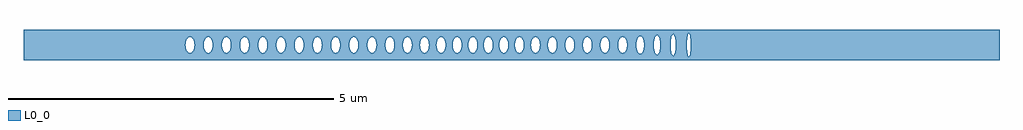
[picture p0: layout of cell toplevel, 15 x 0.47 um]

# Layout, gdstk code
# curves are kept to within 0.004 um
import gdstk
lib = gdstk.Library(unit=1e-6, precision=1e-09)
def P(c, l, *ps):  # polygons
    for p in ps: c.add(gdstk.Polygon(p, *l))
L0_0 = (0, 0)

toplevel = lib.new_cell('toplevel')
P(toplevel, L0_0, [(-4.441,-0.067),(-4.452,0.008),(-4.438,0.073),(-4.438,0.235),(-7.5,0.235),(-7.5,-0.016),(-5.011,-0.016),(-5.008,0.038),(-4.998,0.073),(-4.975,0.109),(-4.945,0.124),(-4.919,0.118),(-4.889,0.085),(-4.875,0.046),(-4.87,0),(-4.732,0),(-4.727,0.046),(-4.712,0.085),(-4.695,0.109),(-4.666,0.124),(-4.639,0.118),(-4.616,0.096),(-4.599,0.06),(-4.591,0.016),(-4.594,-0.038),(-4.604,-0.073),(-4.627,-0.109),(-4.657,-0.124),(-4.683,-0.118),(-4.706,-0.096),(-4.727,-0.046),(-4.732,0),(-4.87,0),(-4.875,-0.046),(-4.889,-0.085),(-4.907,-0.109),(-4.936,-0.124),(-4.963,-0.118),(-4.986,-0.096),(-5.003,-0.06),(-5.011,-0.016),(-7.5,-0.016),(-7.5,-0.235),(-4.438,-0.235)],
  [(-4.433,0.085),(-4.403,0.118),(-4.386,0.124),(-4.368,0.122),(-4.347,0.109),(-4.324,0.073),(-4.313,0.031),(-4.312,-0.016),(-4.172,-0.016),(-4.169,0.038),(-4.153,0.085),(-4.128,0.115),(-4.097,0.124),(-4.068,0.109),(-4.05,0.085),(-4.036,0.046),(-4.031,-0.008),(-4.036,-0.046),(-4.05,-0.085),(-4.068,-0.109),(-4.097,-0.124),(-4.123,-0.118),(-4.147,-0.096),(-4.159,-0.073),(-4.172,-0.016),(-4.312,-0.016),(-4.32,-0.06),(-4.336,-0.096),(-4.355,-0.115),(-4.377,-0.124),(-4.395,-0.122),(-4.415,-0.109),(-4.438,-0.074),(-4.438,-0.235),(-3.813,-0.235),(-3.813,-0.123),(-3.84,-0.12),(-3.867,-0.096),(-3.884,-0.06),(-3.892,-0.016),(-3.888,0.046),(-3.867,0.096),(-3.844,0.118),(-3.813,0.123),(-3.813,0.235),(-4.438,0.235),(-4.438,0.073)],
  [(-3.331,0.031),(-3.308,0.096),(-3.289,0.115),(-3.267,0.124),(-3.249,0.122),(-3.225,0.105),(-3.208,0.079),(-3.196,0.038),(-3.196,0.235),(-3.813,0.235),(-3.813,0.123),(-3.784,0.105),(-3.765,0.073),(-3.756,0.046),(-3.752,-0.008),(-3.613,-0.008),(-3.611,0.031),(-3.597,0.079),(-3.576,0.109),(-3.547,0.124),(-3.521,0.118),(-3.497,0.096),(-3.485,0.073),(-3.472,0.016),(-3.475,-0.038),(-3.485,-0.073),(-3.508,-0.109),(-3.538,-0.124),(-3.564,-0.118),(-3.591,-0.09),(-3.608,-0.046),(-3.613,-0.008),(-3.752,-0.008),(-3.756,-0.046),(-3.771,-0.085),(-3.788,-0.109),(-3.813,-0.123),(-3.813,-0.235),(-3.196,-0.235),(-3.196,-0.041),(-3.208,-0.079),(-3.229,-0.109),(-3.258,-0.124),(-3.284,-0.118),(-3.308,-0.096),(-3.32,-0.073),(-3.333,-0.016)],
  [(-2.489,-0.235),(-2.489,-0.046),(-2.494,-0.008),(-2.489,0.235),(-3.196,0.235),(-3.193,-0.016),(-3.053,-0.016),(-3.05,0.038),(-3.04,0.073),(-3.017,0.109),(-2.987,0.124),(-2.961,0.118),(-2.938,0.096),(-2.917,0.046),(-2.913,-0.008),(-2.774,-0.008),(-2.769,0.046),(-2.758,0.079),(-2.737,0.109),(-2.708,0.124),(-2.681,0.118),(-2.658,0.096),(-2.641,0.06),(-2.633,0.016),(-2.636,-0.038),(-2.646,-0.073),(-2.669,-0.109),(-2.699,-0.124),(-2.725,-0.118),(-2.748,-0.096),(-2.765,-0.06),(-2.774,-0.008),(-2.913,-0.008),(-2.917,-0.046),(-2.938,-0.096),(-2.961,-0.118),(-2.978,-0.124),(-3.005,-0.118),(-3.028,-0.096),(-3.045,-0.06),(-3.053,-0.016),(-3.193,-0.016),(-3.196,-0.235)],
  [(-1.939,0.016),(-1.921,0.085),(-1.903,0.109),(-1.882,0.122),(-1.882,0.235),(-2.489,0.235),(-2.489,0.046),(-2.475,0.085),(-2.454,0.112),(-2.437,0.122),(-2.41,0.122),(-2.386,0.105),(-2.369,0.079),(-2.356,0.038),(-2.354,-0.016),(-2.215,-0.016),(-2.212,0.038),(-2.196,0.085),(-2.171,0.115),(-2.14,0.124),(-2.111,0.109),(-2.093,0.085),(-2.079,0.046),(-2.074,0.008),(-2.076,-0.031),(-2.09,-0.079),(-2.111,-0.109),(-2.14,-0.124),(-2.166,-0.118),(-2.19,-0.096),(-2.202,-0.073),(-2.215,-0.016),(-2.354,-0.016),(-2.358,-0.046),(-2.375,-0.09),(-2.39,-0.109),(-2.419,-0.124),(-2.437,-0.122),(-2.461,-0.105),(-2.481,-0.073),(-2.489,-0.047),(-2.489,-0.235),(-1.882,-0.235),(-1.882,-0.122),(-1.907,-0.105),(-1.924,-0.079),(-1.938,-0.031)],
  [(-1.407,0.016),(-1.392,0.079),(-1.359,0.118),(-1.342,0.124),(-1.324,0.122),(-1.303,0.109),(-1.289,0.09),(-1.289,0.235),(-1.882,0.235),(-1.882,0.122),(-1.847,0.118),(-1.824,0.096),(-1.805,0.053),(-1.799,-0.008),(-1.67,-0.008),(-1.667,0.038),(-1.657,0.073),(-1.634,0.109),(-1.604,0.124),(-1.578,0.118),(-1.551,0.09),(-1.534,0.046),(-1.529,0.008),(-1.531,-0.031),(-1.545,-0.079),(-1.566,-0.109),(-1.595,-0.124),(-1.621,-0.118),(-1.645,-0.096),(-1.665,-0.046),(-1.67,-0.008),(-1.799,-0.008),(-1.805,-0.053),(-1.824,-0.096),(-1.847,-0.118),(-1.882,-0.122),(-1.882,-0.235),(-1.289,-0.235),(-1.289,-0.09),(-1.303,-0.109),(-1.328,-0.123),(-1.35,-0.122),(-1.371,-0.109),(-1.399,-0.06)],
  [(-1.268,-0.026),(-1.289,-0.09),(-1.289,-0.235),(-0.664,-0.235),(-0.664,0.235),(-1.289,0.235),(-1.289,0.09),(-1.273,0.053),(-1.267,-0.016),(-1.153,-0.016),(-1.15,0.038),(-1.14,0.073),(-1.117,0.109),(-1.096,0.122),(-1.078,0.124),(-1.061,0.118),(-1.034,0.09),(-1.017,0.046),(-1.012,-0.008),(-0.906,-0.008),(-0.897,0.06),(-0.873,0.105),(-0.84,0.124),(-0.822,0.122),(-0.801,0.109),(-0.778,0.073),(-0.77,0.046),(-0.766,-0.023),(-0.784,-0.085),(-0.801,-0.109),(-0.822,-0.122),(-0.849,-0.122),(-0.88,-0.096),(-0.897,-0.06),(-0.906,-0.008),(-1.012,-0.008),(-1.017,-0.046),(-1.031,-0.085),(-1.049,-0.109),(-1.078,-0.124),(-1.104,-0.118),(-1.128,-0.096),(-1.14,-0.073),(-1.153,-0.016),(-1.267,-0.016)],
  [(-0.187,0.031),(-0.176,0.073),(-0.156,0.105),(-0.156,0.235),(-0.664,0.235),(-0.664,0.016),(-0.656,0.06),(-0.639,0.096),(-0.616,0.118),(-0.59,0.124),(-0.56,0.109),(-0.537,0.073),(-0.528,0.046),(-0.524,-0.016),(-0.426,-0.016),(-0.423,0.038),(-0.407,0.085),(-0.378,0.118),(-0.351,0.124),(-0.322,0.109),(-0.304,0.085),(-0.29,0.046),(-0.285,0),(-0.29,-0.046),(-0.304,-0.085),(-0.322,-0.109),(-0.351,-0.124),(-0.378,-0.118),(-0.401,-0.096),(-0.418,-0.06),(-0.426,-0.016),(-0.524,-0.016),(-0.534,-0.067),(-0.556,-0.105),(-0.581,-0.122),(-0.607,-0.122),(-0.628,-0.109),(-0.645,-0.085),(-0.658,-0.053),(-0.664,-0.016),(-0.664,-0.235),(-0.156,-0.235),(-0.156,-0.105),(-0.176,-0.073),(-0.186,-0.038)],
  [(0.3,0.023),(0.312,0.073),(0.335,0.109),(0.365,0.124),(0.382,0.122),(0.403,0.109),(0.403,0.235),(-0.156,0.235),(-0.156,0.105),(-0.123,0.124),(-0.105,0.122),(-0.081,0.105),(-0.064,0.079),(-0.053,0.046),(-0.049,-0.016),(0.051,-0.016),(0.054,0.038),(0.064,0.073),(0.087,0.109),(0.117,0.124),(0.143,0.118),(0.173,0.085),(0.187,0.046),(0.192,0),(0.187,-0.046),(0.173,-0.085),(0.155,-0.109),(0.126,-0.124),(0.099,-0.118),(0.076,-0.096),(0.059,-0.06),(0.051,-0.016),(-0.049,-0.016),(-0.064,-0.079),(-0.085,-0.109),(-0.105,-0.122),(-0.123,-0.124),(-0.156,-0.105),(-0.156,-0.235),(0.403,-0.235),(0.403,-0.109),(0.382,-0.122),(0.365,-0.124),(0.331,-0.105),(0.305,-0.053)],
  [(0.826,0.016),(0.83,0.046),(0.847,0.09),(0.862,0.109),(0.891,0.124),(0.917,0.118),(0.941,0.096),(0.953,0.073),(0.965,0.023),(0.965,0.235),(0.403,0.235),(0.403,0.109),(0.431,0.06),(0.439,-0.016),(0.558,-0.016),(0.561,0.038),(0.571,0.073),(0.594,0.109),(0.624,0.124),(0.65,0.118),(0.677,0.09),(0.694,0.046),(0.699,0.008),(0.697,-0.031),(0.683,-0.079),(0.662,-0.109),(0.633,-0.124),(0.607,-0.118),(0.583,-0.096),(0.571,-0.073),(0.558,-0.016),(0.439,-0.016),(0.429,-0.066),(0.403,-0.109),(0.403,-0.235),(0.965,-0.235),(0.965,-0.026),(0.953,-0.073),(0.93,-0.109),(0.909,-0.122),(0.882,-0.122),(0.858,-0.105),(0.841,-0.079),(0.827,-0.031)],
  [(0.965,-0.023),(0.965,-0.235),(1.649,-0.235),(1.649,-0.066),(1.638,-0.016),(1.64,0.031),(1.649,0.066),(1.649,0.235),(0.965,0.235),(0.966,-0.008),(1.095,-0.008),(1.097,0.031),(1.111,0.079),(1.132,0.109),(1.161,0.124),(1.196,0.112),(1.217,0.085),(1.233,0.038),(1.236,-0.008),(1.365,-0.008),(1.368,0.038),(1.391,0.096),(1.422,0.122),(1.44,0.124),(1.457,0.118),(1.49,0.079),(1.504,0.031),(1.506,-0.008),(1.49,-0.079),(1.473,-0.105),(1.449,-0.122),(1.422,-0.122),(1.391,-0.096),(1.374,-0.06),(1.365,-0.008),(1.236,-0.008),(1.233,-0.038),(1.217,-0.085),(1.2,-0.109),(1.17,-0.124),(1.144,-0.118),(1.117,-0.09),(1.1,-0.046),(1.095,-0.008),(0.966,-0.008)],
  [(1.657,0.085),(1.686,0.118),(1.721,0.122),(1.746,0.105),(1.768,0.066),(1.778,0.016),(1.777,-0.017),(1.918,-0.017),(1.922,0.051),(1.934,0.095),(1.956,0.128),(1.982,0.138),(2.008,0.121),(2.023,0.095),(2.035,0.051),(2.039,-0.009),(2.023,-0.095),(2.008,-0.121),(1.982,-0.138),(1.963,-0.134),(1.937,-0.101),(1.925,-0.067),(1.918,-0.017),(1.777,-0.017),(1.77,-0.06),(1.753,-0.096),(1.73,-0.118),(1.713,-0.124),(1.695,-0.122),(1.674,-0.109),(1.649,-0.067),(1.649,-0.235),(2.241,-0.235),(2.241,-0.152),(2.222,-0.145),(2.205,-0.117),(2.187,-0.019),(2.188,0.038),(2.2,0.104),(2.216,0.138),(2.231,0.151),(2.241,0.152),(2.241,0.235),(1.649,0.235),(1.649,0.066)],
  [(2.287,-0.028),(2.27,-0.117),(2.259,-0.138),(2.241,-0.152),(2.241,-0.235),(7.5,-0.235),(7.5,0.235),(2.241,0.235),(2.241,0.152),(2.259,0.138),(2.272,0.111),(2.286,0.047),(2.288,0),(2.444,0),(2.455,0.114),(2.47,0.154),(2.488,0.166),(2.505,0.145),(2.52,0.089),(2.525,-0.034),(2.695,-0.034),(2.696,0.056),(2.712,0.163),(2.728,0.18),(2.739,0.163),(2.747,0.131),(2.756,0.034),(2.755,-0.056),(2.744,-0.146),(2.728,-0.18),(2.716,-0.171),(2.707,-0.146),(2.695,-0.034),(2.525,-0.034),(2.511,-0.128),(2.498,-0.158),(2.483,-0.166),(2.47,-0.154),(2.455,-0.114),(2.444,0),(2.288,0)])

lib.write_gds('toplevel.gds')
